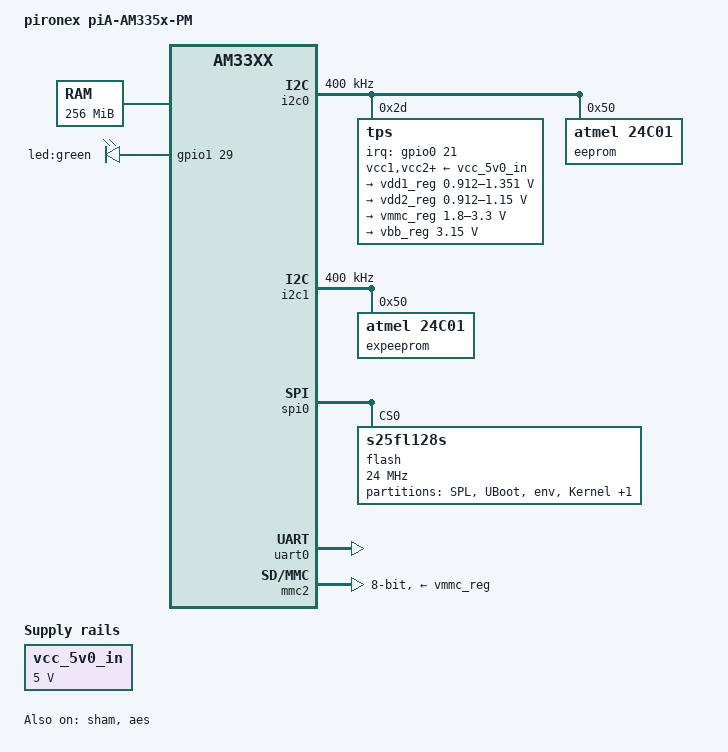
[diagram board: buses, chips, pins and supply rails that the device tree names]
/*
 * Copyright (C) 2015 pironex GmbH (http://www.pironex.de)
 *
 * This program is free software; you can redistribute it and/or modify
 * it under the terms of the GNU General Public License version 2 as
 * published by the Free Software Foundation.
 */

#include "am33xx.dtsi"

/ {
	model = "pironex piA-AM335x-PM";
	compatible = "pironex,am335x-pia-pm", "ti,am33xx";

	cpus {
		cpu@0 {
			/* CPU supply "vdd_mpu" */
			cpu0-supply = <&vdd1_reg>;
		};
	};

	memory {
		device_type = "memory";
		reg = <0x80000000 0x10000000>; /* 256 MB */
	};

	vcc_5v0_in: fixedregulator@0 {
		compatible = "regulator-fixed";
		regulator-name = "vcc_5v0_in";
		regulator-min-microvolt = <5000000>;
		regulator-max-microvolt = <5000000>;
		regulator-boot-on;
	};

	leds: leds {
		pinctrl-names = "default";
		pinctrl-0 = <&led_pins>;

		compatible = "gpio-leds";

		led@1 {
			label = "led:green";
			gpios = <&gpio1 29 GPIO_ACTIVE_HIGH>;
			linux,default-trigger = "heartbeat";
			default-state = "on";
		};
	};
};

&am33xx_pinmux {
	pinctrl-names = "default";

	led_pins: pinmux_led {
		pinctrl-single,pins = <
			0x7c (PIN_OUTPUT_PULLDOWN | MUX_MODE7)	/* gpmc_csn0.gpio1_29 */
		>;
	};

	flash_pins: pinmux_flash_pins {
		pinctrl-single,pins = <
			0x13c (PIN_INPUT_PULLUP | MUX_MODE7)	/* NOR_WPn: mii1_rxd1.gpio2_20 */
			0x140 (PIN_INPUT_PULLUP | MUX_MODE7)	/* NOR_RESn: mii1_rxd0.gpio_2_21 */
		>;
	};

	/* I2C Bus 0 */
	i2c0_pins: pinmux_i2c0_pins {
		pinctrl-single,pins = <
			0x188 (PIN_INPUT_PULLUP | MUX_MODE0)	/* i2c0_sda.i2c0_sda */
			0x18c (PIN_INPUT_PULLUP | MUX_MODE0)	/* i2c0_scl.i2c0_scl */
		>;
	};

	i2c1_pins: pinmux_i2c1_pins {
		pinctrl-single,pins = <
			0x10c (PIN_INPUT_PULLUP | MUX_MODE3)	/* i2c0_sda.i2c0_sda */
			0x110 (PIN_INPUT_PULLUP | MUX_MODE3)	/* i2c0_scl.i2c0_scl */
		>;
	};

	/* eMMC on 2nd MMC bus */
	mmc2_pins: pinmux_mmc2_pins {
		pinctrl-single,pins = <
			0x80 (PIN_INPUT_PULLUP | MUX_MODE2) /* gpmc_csn1.mmc1_clk */
			0x84 (PIN_INPUT_PULLUP | MUX_MODE2) /* gpmc_csn2.mmc1_cmd */
			0x00 (PIN_INPUT_PULLUP | MUX_MODE1) /* gpmc_ad0.mmc1_dat0 */
			0x04 (PIN_INPUT_PULLUP | MUX_MODE1) /* gpmc_ad1.mmc1_dat1 */
			0x08 (PIN_INPUT_PULLUP | MUX_MODE1) /* gpmc_ad2.mmc1_dat2 */
			0x0c (PIN_INPUT_PULLUP | MUX_MODE1) /* gpmc_ad3.mmc1_dat3 */
			0x10 (PIN_INPUT_PULLUP | MUX_MODE1) /* gpmc_ad4.mmc1_dat4 */
			0x14 (PIN_INPUT_PULLUP | MUX_MODE1) /* gpmc_ad5.mmc1_dat5 */
			0x18 (PIN_INPUT_PULLUP | MUX_MODE1) /* gpmc_ad6.mmc1_dat6 */
			0x1c (PIN_INPUT_PULLUP | MUX_MODE1) /* gpmc_ad7.mmc1_dat7 */
			/* reset GPIO */
			/*0x9c (PIN_INPUT_PULLUP | MUX_MODE7)*/ /* gpmc_be0n_cle.gpio2_5 */
		>;
	};

	spi0_pins: pinmux_spi0 {
		pinctrl-single,pins = <
			0x150 (PIN_INPUT_PULLUP | MUX_MODE0) /* spi0_sclk.spi0_sclk */
			0x154 (PIN_OUTPUT | MUX_MODE0) /* spi0_d0.spi0_d0 */
			0x158 (PIN_INPUT_PULLUP | MUX_MODE0) /* spi0_d1.spi0_d1 */
			0x15C (PIN_OUTPUT | MUX_MODE0) /* spi0_cs0.spi0_cs0 */
		>;
	};

	tps_pins: pinmux_tps {
		pinctrl-single,pins = <
			0x124 (PIN_INPUT_PULLUP | MUX_MODE7)	/* mii1_txd1.gpio0_21 */
		>;
	};

	/* Debug UART - not on PM but fixed as UART on baseboard */
	uart0_pins: pinmux_uart0_pins {
		pinctrl-single,pins = <
			0x170 (PIN_INPUT_PULLUP | MUX_MODE0)	/* uart0_rxd.uart0_rxd */
			0x174 (PIN_OUTPUT_PULLDOWN | MUX_MODE0)	/* uart0_txd.uart0_txd */
		>;
	};

};

&i2c0 {
	pinctrl-names = "default";
	pinctrl-0 = <&i2c0_pins>;
	clock-frequency = <400000>; /* 400 kHz */

	status = "okay";

	/* TPS65910 PMIC */
	tps: tps@2d {
		reg = <0x2d>;
	};

	/* 24AA02E48 EEPROM with UID */
	eeprom@50 {
		compatible = "atmel,24c01";
		reg = <0x50>;
		pagesize = <8>;
	};

	/* TODO add missing devices */
};

&i2c1 {
	pinctrl-names = "default";
	pinctrl-0 = <&i2c1_pins>;
	clock-frequency = <400000>; /* 400 kHz */

	status = "okay";

	/* 24AA02E48 EEPROM with UID */
	expeeprom@50 {
		compatible = "atmel,24c01";
		reg = <0x50>;
		pagesize = <8>;
	};
};

&rtc {
	/* RTC is used from TPS, make sure it is rtc0 */
	status = "disabled";
};

&spi0 {
	pinctrl-names = "default";
	pinctrl-0 = <&spi0_pins>;
	ti,pindir-d0-out-d1-in;

	status = "okay";

	flash: m25p80@0 {
		/* TODO must be configured as a module for now, otherwise
		 * the JEDEC id read fails for some unknown reason. 
		 * The first 4-5 bits of the ID come as 1 resulting in
		 * a manufacurer ID of f9 or f1 instead of the expected 01 */
		pinctrl-names = "default";
		pinctrl-0 = <&flash_pins>;

		#address-cells = <1>;
		#size-cells = <1>;
		compatible = "s25fl128s", "jedec,spi-nor";
		m25p,fast-read;
		spi-max-frequency = <24000000>;
		reg = <0>;

		partition@0 {
			label = "SPL";
			reg = <0x00000000 0x00040000>; /* 1 sector */
			read-only;
		};
		partition@1 {
			label = "UBoot";
			reg = <0x00040000 0x00080000>; /* 2 sector */
			read-only;
		};
		partition@2 {
			label = "env";
			reg = <0x000c0000 0x00040000>; /* 1 sector */
			read-only;
		};
		partition@3 {
			label = "Kernel";
			reg = <0x00100000 0x00500000>; /* 20 sectors */
		};
		partition@4 {
			label = "System";
			reg = <0x00500000 0x00A00000>; /* 40 sectors */
		};
	};
};

/* Debug UART */
&uart0 {
	pinctrl-names = "default";
	pinctrl-0 = <&uart0_pins>;

	status = "okay";
};

/* TPS65910 base configuration in tps65910.dtsi */
#include "tps65910.dtsi"

/* TPS65910 board specific configuration */ 
&tps {
	pinctrl-names = "default";
	pinctrl-0 = <&tps_pins>;

	interrupt-parent = <&gpio0>;
	interrupts = <21 2>; /* low flank */

	ti,en-ck32k-xtal;
	/* would do a reset on powerdown
	 * ti,system-power-controller; */

	vcc1-supply = <&vcc_5v0_in>;
	vcc2-supply = <&vcc_5v0_in>;
	vcc3-supply = <&vcc_5v0_in>;
	vcc4-supply = <&vcc_5v0_in>;
	vcc5-supply = <&vcc_5v0_in>;
	vcc6-supply = <&vcc_5v0_in>;
	vcc7-supply = <&vcc_5v0_in>;
	vccio-supply = <&vcc_5v0_in>;

	regulators {
		vrtc_reg: regulator@0 {
			regulator-always-on;
		};

		/* DDR3 IO voltage */
		vio_reg: regulator@1 {
			regulator-always-on;
		};

		vdd1_reg: regulator@2 {
			/* VDD_MPU voltage limits 0.95V - 1.26V with +/-4% tolerance 
			 * controlled by cpufreq */
			regulator-name = "vdd_mpu";
			regulator-min-microvolt = <912500>;
			regulator-max-microvolt = <1351500>;
			regulator-boot-on;
			regulator-always-on;
		};

		vdd2_reg: regulator@3 {
			/* VDD_CORE voltage limits 0.95V - 1.1V with +/-4% tolerance */
			regulator-name = "vdd_core";
			regulator-min-microvolt = <912500>;
			regulator-max-microvolt = <1150000>;
			regulator-boot-on;
			regulator-always-on;
		};

		vdd3_reg: regulator@4 {
			regulator-always-on;
		};

		vdig1_reg: regulator@5 {
			/* VDIG1 is not used on PM
			 * not setting always-on should disable the regulator after init */
			/* regulator-always-on; */
		};

		vdig2_reg: regulator@6 {
			regulator-always-on;
		};

		vpll_reg: regulator@7 {
			regulator-always-on;
		};

		vdac_reg: regulator@8 {
			regulator-always-on;
		};

		vaux1_reg: regulator@9 {
			regulator-always-on;
		};

		vaux2_reg: regulator@10 {
			regulator-always-on;
		};

		vaux33_reg: regulator@11 {
			regulator-always-on;
		};

		vmmc_reg: regulator@12 {
			regulator-min-microvolt = <1800000>;
			regulator-max-microvolt = <3300000>;
			regulator-always-on;
		};

		vbb_reg: regulator@13 {
			regulator-min-microvolt = <3150000>;
			regulator-max-microvolt = <3150000>;
			regulator-always-on;
		};
	};
};

/* eMMC */
&mmc2 {
	vmmc-supply = <&vmmc_reg>;
	bus-width = <8>;
	pinctrl-names = "default";
	pinctrl-0 = <&mmc2_pins>;
	ti,non-removable;

	status = "okay"; /* present on PM module */
};

&sham {
	status = "okay";
};

&aes {
	status = "okay";
};

&wkup_m3_ipc {
	ti,scale-data-fw = "am335x-evm-scale-data.bin";
};
